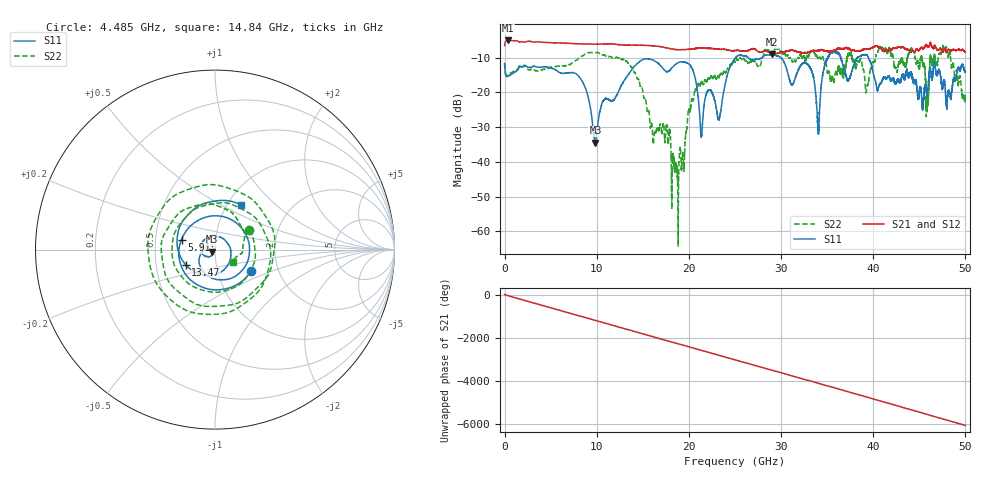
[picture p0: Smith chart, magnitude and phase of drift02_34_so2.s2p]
!Created with skrf (http://scikit-rf.org).
# Hz S RI R 50.0
!freq ReS11 ImS11 ReS21 ImS21 ReS12 ImS12 ReS22 ImS22
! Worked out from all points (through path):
!   10001 points, 300 kHz to 50 GHz, reference 50 ohm
!   highest |S21| = -5.04 dB at 375.3 MHz (marker M1); lowest = -9.0 dB at 29.05 GHz (marker M2)
!   group delay of S21, straight-line fit = 336 ps
!   lowest |S11| = -34.5 dB at 9.85 GHz (marker M3), VSWR 1.04, Z = 48.5 - j1.14 ohm
!   |S11| at or under -10 dB: start of sweep to 25.07 GHz; 29.97 GHz to 35.06 GHz (5.093 GHz wide, 15.7 % of centre); 39.47 GHz to end of sweep (the widest 3 of 7)
!   |S22| runs from -64.2 to -6.5 dB; largest |S21 - S12| = 0.021
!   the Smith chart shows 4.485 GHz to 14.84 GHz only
!   S11 on the Smith chart (normalised r, x): 4.485 GHz: 1.45, -0.36; 5.91 GHz: 0.68, +0.08; 13.47 GHz: 0.71, -0.12; 14.84 GHz: 1.15, +0.63
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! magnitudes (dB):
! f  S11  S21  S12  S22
! 300 kHz  -11.7  -6.5  -6.4  -11.6
! 375.3 MHz  -15.3  -5.0  -5.0  -14.9
! 4.485 GHz  -12.7  -5.6  -5.6  -13.2
! 5.91 GHz  -14.2  -5.7  -5.7  -12.4
! 8.335 GHz  -16.4  -6.0  -6.0  -9.6
! 9.85 GHz  -34.5  -6.1  -6.1  -8.6
! 13.47 GHz  -14.7  -6.4  -6.4  -11.6
! 14.84 GHz  -10.8  -6.4  -6.4  -18.5
! 16.67 GHz  -11.6  -6.7  -6.7  -30.8
! 18.68 GHz  -11.7  -7.7  -7.7  -41.5
! 20.37 GHz  -13.3  -7.5  -7.5  -22.1
! 21.37 GHz  -32.6  -7.2  -7.3  -17.0
! 23.31 GHz  -27.2  -7.5  -7.6  -15.6
! 25 GHz  -10.3  -8.0  -8.0  -11.2
! 29.05 GHz  -9.1  -9.0  -9.0  -8.2
! 33.34 GHz  -13.9  -8.1  -8.1  -8.1
! 34.02 GHz  -31.6  -7.9  -8.0  -10.3
! 35.54 GHz  -8.4  -8.1  -8.2  -15.3
! 41.67 GHz  -15.3  -7.7  -7.8  -7.4
! 45.86 GHz  -20.6  -6.7  -6.8  -21.0
! 47.76 GHz  -17.2  -7.5  -7.5  -7.4
! 50 GHz  -14.0  -8.4  -8.4  -21.0
